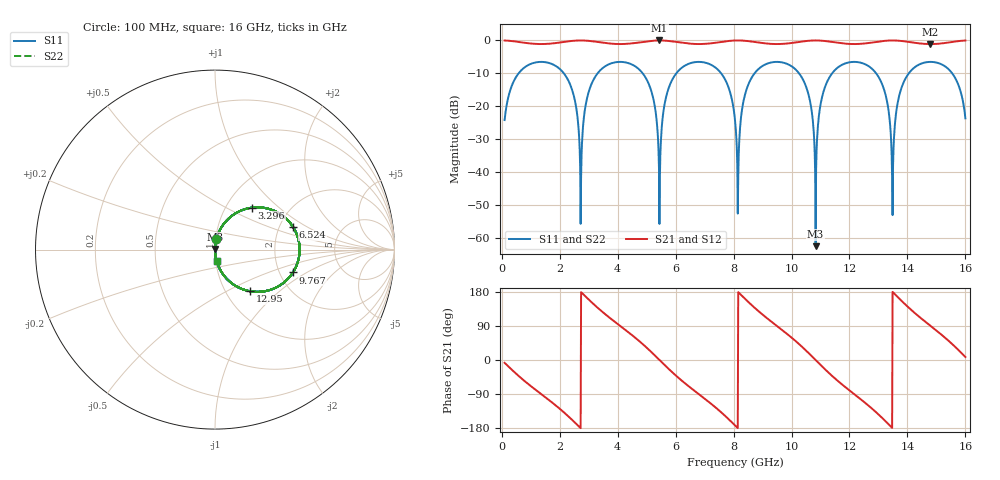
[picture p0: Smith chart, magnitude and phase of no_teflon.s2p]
! TOUCHSTONE file generated by CST MICROWAVE STUDIO
! Date and time: Mon Mar 13 18:05:33 2023
! Project name: Untitled_0.cst
! Header version: 2018
! Port assignment regex: !\s*Touchstone port\s*([0-9]+)\s*=\s*(CST MWS port|CST DS port)\s*([0-9]+|Zmin|Zmax)\s*\(\"(.*)\"\)(\s*mode\s*([0-9]+))?.*
! Touchstone port assignment:
! Touchstone port 1 = CST MWS port 1 ("")
! Touchstone port 2 = CST MWS port 2 ("")
# GHz S MA R 50
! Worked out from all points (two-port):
!   1001 points, 100 MHz to 16 GHz, reference 50 ohm
!   highest |S21| = 0.00 dB at 5.442 GHz (marker M1); lowest = -1.1 dB at 14.79 GHz (marker M2)
!   |S21| within 3 dB of the highest: start of sweep to end of sweep
!   lowest |S11| = -62.6 dB at 10.83 GHz (marker M3), VSWR 1.00, Z = 50 + j0.0712 ohm
!   |S11| at or under -10 dB: 2.142 GHz to 3.309 GHz (1.167 GHz wide, 42.8 % of centre); 4.864 GHz to 6.026 GHz (1.162 GHz wide, 21.3 % of centre); 7.571 GHz to 8.726 GHz (1.154 GHz wide, 14.2 % of centre)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
!   |S22| runs from -62.6 to -6.5 dB; largest |S21 - S12| = 1.7e-06
!   S11 on the Smith chart (normalised r, x): 100 MHz: 1.01, +0.12; 3.296 GHz: 1.32, +0.68; 6.524 GHz: 2.37, +0.76; 9.767 GHz: 2.37, -0.76; 12.95 GHz: 1.30, -0.66; 16 GHz: 1.01, -0.13
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0.1  0.06137 82.5  0.9981 -7.5  0.9981 -7.5  0.06137 82.5
1.7695  0.4308 -24.0  0.9021 -114.0  0.9021 -114.0  0.4308 -24.0
2.4214  0.181 -67.4  0.9831 -157.4  0.9831 -157.4  0.181 -67.4
2.7553  0.01801 87.1  0.9994 177.8  0.9994 177.8  0.01801 87.1
3.2959  0.3106 48.8  0.9501 138.8  0.9501 138.8  0.3106 48.8
4.8541  0.3201 -47.2  0.947 42.8  0.947 42.8  0.3201 -47.2
5.4106  0.02128 -86.9  0.9994 2.6  0.9994 2.6  0.02128 -86.9
5.4424  0.00161 -82.9  0.9996 0.2  0.9996 0.2  0.00161 -82.9
5.7763  0.1964 65.3  0.9801 -24.6  0.9801 -24.6  0.1964 65.3
6.5236  0.4527 16.3  0.8913 -73.7  0.8913 -73.7  0.4527 16.3
7.5889  0.3089 -49.1  0.9507 -139.1  0.9507 -139.1  0.3089 -49.1
8.05  0.06154 -82.3  0.9977 -172.5  0.9977 -172.5  0.06154 -82.3
9.7672  0.4526 -16.3  0.8913 73.7  0.8913 73.7  0.4526 -16.3
10.7053  0.07881 -80.2  0.9965 9.6  0.9965 9.6  0.07881 -80.2
10.8325  0.0007387 74.6  0.9996 -0.1  0.9996 -0.1  0.0007382 74.7
11.4049  0.3173 47.7  0.9479 -42.3  0.9479 -42.3  0.3173 47.7
12.9472  0.304 -49.8  0.9523 -139.9  0.9523 -139.9  0.304 -49.8
13.3606  0.07834 -80.3  0.9965 -170.4  0.9965 -170.4  0.07834 -80.3
13.4878  0.002194 84.3  0.9996 179.7  0.9996 179.7  0.002194 84.3
13.8694  0.2307 60.7  0.9726 150.7  0.9726 150.7  0.2307 60.7
14.7916  0.4716 0.4  0.8814 90.4  0.8814 90.4  0.4716 0.4
16  0.06521 -81.9  0.9974 7.9  0.9974 7.9  0.06521 -81.9
